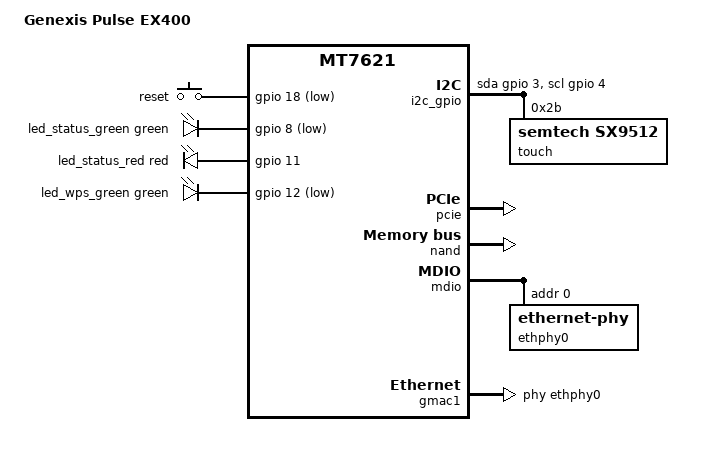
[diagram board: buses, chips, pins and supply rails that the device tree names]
// SPDX-License-Identifier: GPL-2.0-or-later OR MIT

#include "mt7621.dtsi"

#include <dt-bindings/gpio/gpio.h>
#include <dt-bindings/input/input.h>
#include <dt-bindings/leds/common.h>


/ {
	compatible = "genexis,pulse-ex400", "mediatek,mt7621-soc";
	model = "Genexis Pulse EX400";

	aliases {
		led-boot = &led_status_red;
		led-failsafe = &led_status_red;
		led-running = &led_status_green;
		led-upgrade = &led_status_red;

		ethernet0 = &gmac0;
		label-mac-device = &gmac0;
	};

	chosen {
		bootargs-override = "console=ttyS0,115200 rootfstype=squashfs,jffs2";
	};

	keys {
		compatible = "gpio-keys";

		reset {
			label = "reset";
			gpios = <&gpio 18 GPIO_ACTIVE_LOW>;
			linux,code = <KEY_RESTART>;
		};
	};

	leds: leds {
		compatible = "gpio-leds";

		led_status_green: led-0 {
			color = <LED_COLOR_ID_GREEN>;
			function = LED_FUNCTION_STATUS;
			gpios = <&gpio 8 GPIO_ACTIVE_LOW>;
		};

		led_status_red: led-1 {
			color = <LED_COLOR_ID_RED>;
			function = LED_FUNCTION_STATUS;
			gpios = <&gpio 11 GPIO_ACTIVE_HIGH>;
		};
	};

	i2c_gpio: i2c-gpio {
		compatible = "i2c-gpio";

		sda-gpios = <&gpio 3 GPIO_ACTIVE_HIGH>;
		scl-gpios = <&gpio 4 GPIO_ACTIVE_HIGH>;

		i2c-gpio,delay-us = <50>;
		i2c-gpio,timeout-ms = <100>;

		/* Semtech SX9512 */
	};
};

&leds {
	led_wps_green: led-2 {
		color = <LED_COLOR_ID_GREEN>;
		function = LED_FUNCTION_WPS;
		gpios = <&gpio 12 GPIO_ACTIVE_LOW>;
	};
};

&i2c_gpio {
	touch@2b {
		compatible = "semtech,sx9512";

		reg = <0x2b>;

		#address-cells = <1>;
		#size-cells = <0>;

		poll-interval = <150>;

		/* Touch area 2.4 GHz */
		channel@1 {
			reg = <1>;

			semtech,cin-delta = <0x3>;
			semtech,sense-threshold = <0x04>;

			linux,keycodes = <KEY_A>;
		};

		/* Touch area 5 GHz */
		channel@2 {
			reg = <2>;

			semtech,cin-delta = <0x3>;
			semtech,sense-threshold = <0x04>;

			linux,keycodes = <KEY_B>;
		};
		/* Touch area WPS */
		channel@3 {
			reg = <3>;

			semtech,cin-delta = <0x3>;
			semtech,sense-threshold = <0x04>;

			linux,keycodes = <KEY_WPS_BUTTON>;
		};

		channel@4 {
			reg = <4>;

			led {
				color = <LED_COLOR_ID_RED>;
				function = LED_FUNCTION_WAN;
			};
		};

		channel@5 {
			reg = <5>;

			led {
				color = <LED_COLOR_ID_GREEN>;
				function = LED_FUNCTION_WAN;
			};
		};

		channel@6 {
			reg = <6>;

			led {
				color = <LED_COLOR_ID_GREEN>;
				function = LED_FUNCTION_WLAN_5GHZ;
				linux,default-trigger = "phy1tpt";
			};
		};

		channel@7 {
			reg = <7>;

			led {
				color = <LED_COLOR_ID_GREEN>;
				function = LED_FUNCTION_WLAN_2GHZ;
				linux,default-trigger = "phy0tpt";
			};
		};
	};
};

&pcie {
	status = "okay";
};

&nand {
	status = "okay";

	partitions {
		compatible = "fixed-partitions";
		#address-cells = <1>;
		#size-cells = <1>;

		partition@0 {
			reg = <0x00 0x100000>;
			label = "uboot";
			read-only;
		};

		partition@100000 {
			reg = <0x100000 0xff00000>;
			label = "ubi";
		};
	};
};

&mdio {
	ethphy0: ethernet-phy@0 {
		reg = <0>;
	};
};

&gmac1 {
	label = "wan";
	phy-handle = <&ethphy0>;
	status = "okay";
};

&i2c {
	/* Uses i2c-gpio */
	status = "disabled";
};

&ethphy0 {
	/delete-property/ interrupts;
};

&state_default {
	gpio {
		groups = "i2c", "uart2", "uart3";
		function = "gpio";
	};
};

&switch0 {
	ports {
		port@1 {
			label = "lan";
			status = "okay";
		};
	};
};
